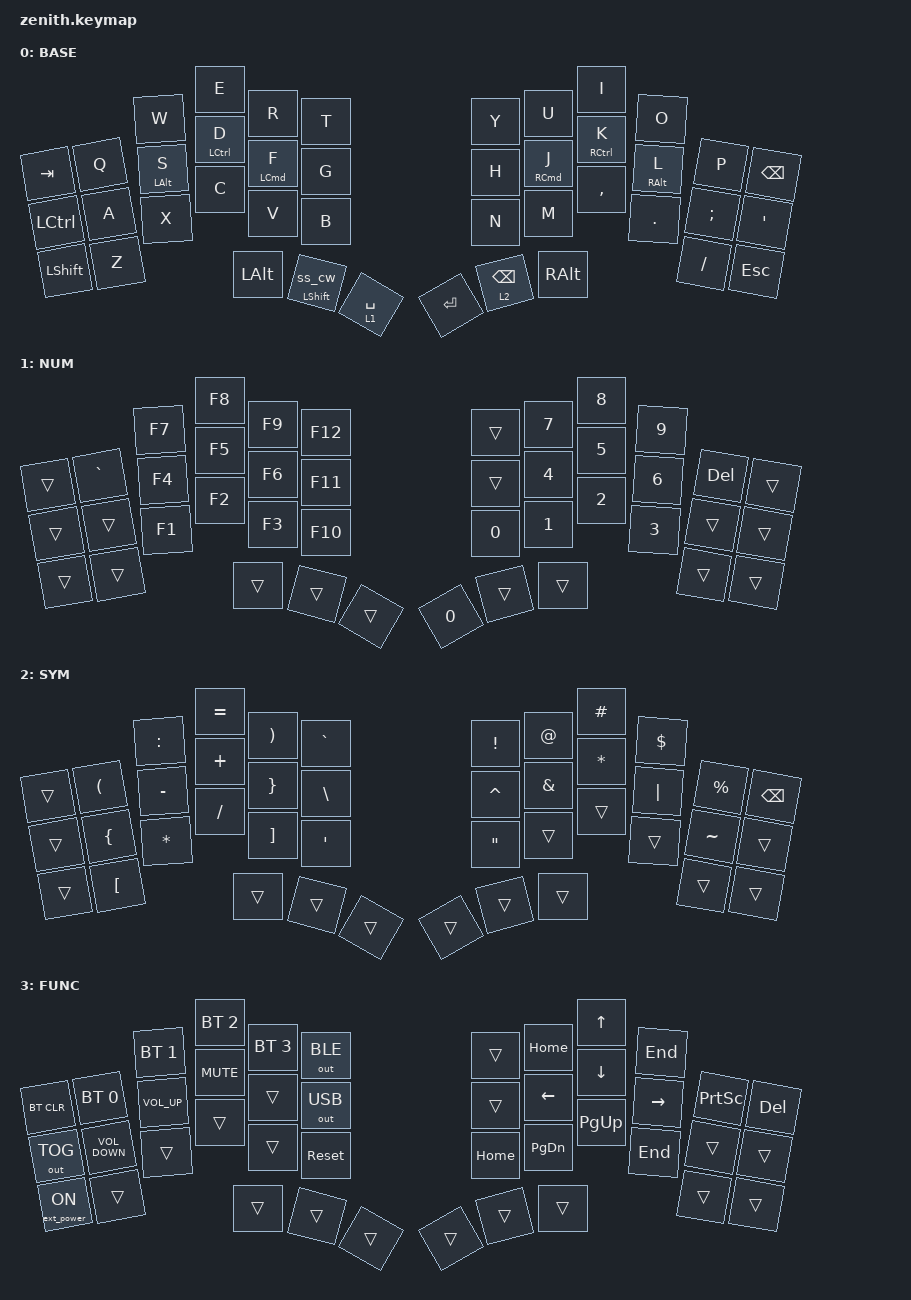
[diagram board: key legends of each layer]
//
//                                                        ▀▀▀▀▀     ▀▀▀▀▀          ▀▀█▀▀
//                                                        ▄▀▀▀▄  ▄  ▄▀▀▀▄  ▄  ▄▀▀▀▄  █  ▄▀▀▀▄
//                                                        █   █  █  █   █  █  █   █  █  █   █
//                                                         ▀▀▀   █   ▀▀▀   █   ▀▀▀   ▀   ▀▀▀
//                                                               █      ▄▄▄█▄▄▄    █   █  
//                                                               ▀      █  █  █     █▄█
//                                                             ▀▀▀▀▀    █  █  █      ▀
//                                                                      ▀  ▀  ▀
//
// ▄▄▄▄▄▄▄▄▄▄▄▄▄▄▄▄▄▄▄▄▄▄▄▄▄▄▄▄▄▄▄▄▄▄▄▄▄▄▄▄▄▄▄▄▄▄▄▄▄▄▄▄▄▄▄▄▄▄▄▄▄▄▄▄▄▄▄▄▄▄▄▄▄▄▄▄▄▄▄▄▄▄▄▄▄▄▄▄▄▄▄▄▄▄▄▄▄▄▄▄▄▄▄▄▄▄▄▄▄▄▄▄▄▄▄▄▄▄▄▄▄▄▄▄▄▄▄▄▄▄▄▄▄▄▄▄▄▄▄▄▄▄▄▄▄▄▄▄▄

#include <behaviors.dtsi>
#include <dt-bindings/zmk/bt.h>
#include <dt-bindings/zmk/ext_power.h>
#include <dt-bindings/zmk/keys.h>
#include <dt-bindings/zmk/outputs.h>

#define BASE 0
#define NAV  1
#define SYM  2
#define ADJ  3

// ─── Key position map ────────────────────────────────────────────────────────
// Row 0:  0   1   2   3   4   5    6   7   8   9  10  11
// Row 1: 12  13  14  15  16  17   18  19  20  21  22  23
// Row 2: 24  25  26  27  28  29   30  31  32  33  34  35
// Row 3:             36  37  38   39  40  41
//
// Left-hand keys  (used as hold-trigger for RIGHT homerow mods):

#define LKEYS  0  1  2  3  4  5  12 13 14 15 16 17 24 25 26 27 28 29 36 37 38

// Right-hand keys (used as hold-trigger for LEFT homerow mods):

#define RKEYS  6  7  8  9 10 11 18 19 20 21 22 23 30 31 32 33 34 35 39 40 41

/ {
    behaviors {
        // ── Left-hand homerow mod ──────────────────────────────────────────

        hml: homerow_mod_left {
            compatible = "zmk,behavior-hold-tap";
            #binding-cells = <2>;
            flavor = "balanced";
            tapping-term-ms = <200>;
            quick-tap-ms = <175>;
            require-prior-idle-ms = <150>;
            bindings = <&kp>, <&kp>;

            hold-trigger-key-positions = <RKEYS>;
            hold-trigger-on-release;
        };

        // ── Right-hand homerow mod ─────────────────────────────────────────

        hmr: homerow_mod_right {
            compatible = "zmk,behavior-hold-tap";
            #binding-cells = <2>;
            flavor = "balanced";
            tapping-term-ms = <200>;
            quick-tap-ms = <175>;
            require-prior-idle-ms = <150>;
            bindings = <&kp>, <&kp>;

            hold-trigger-key-positions = <LKEYS>;
            hold-trigger-on-release;
        };

        ss_cw: shift_caps_word {
            compatible = "zmk,behavior-mod-morph";
            #binding-cells = <0>;
            bindings = <&sk LSHFT>, <&caps_word>;

            mods = <(MOD_LSFT|MOD_RSFT)>;
        };

        sft_cw: shift_capsword_ht {
            compatible = "zmk,behavior-hold-tap";
            #binding-cells = <2>;
            flavor = "balanced";
            tapping-term-ms = <200>;
            bindings = <&kp>, <&ss_cw>;
        };
    };

    conditional_layers {
        compatible = "zmk,conditional-layers";

        func {
            if-layers = <1 2>;
            then-layer = <3>;
        };
    };

    combos {
        compatible = "zmk,combos";

        combo_esc {
            timeout-ms = <50>;
            key-positions = <19 20>;
            bindings = <&kp ESC>;
        };

        combo_tab {
            bindings = <&kp TAB>;
            key-positions = <15 16>;
        };

        copy {
            bindings = <&kp LC(C)>;
            key-positions = <26 27>;
        };

        paste {
            bindings = <&kp LC(V)>;
            key-positions = <27 28>;
        };

        resetbootloader {
            bindings = <&bootloader>;
            key-positions = <3 4 5 6 7 8>;
        };

        backspace {
            bindings = <&kp BACKSPACE>;
            key-positions = <9 10>;
        };

        enter {
            bindings = <&kp ENTER>;
            key-positions = <21 22>;
        };
    };

    keymap {
        compatible = "zmk,keymap";

        // ▄▄▄▄▄▄▄▄▄▄▄▄▄▄▄▄▄▄▄▄▄▄▄▄▄▄▄▄▄▄▄▄▄▄▄▄▄▄▄▄▄▄▄▄▄▄▄▄▄▄▄▄▄▄▄▄▄▄▄▄▄▄▄▄▄▄▄▄▄▄▄▄▄▄▄▄▄▄▄▄▄▄▄▄▄▄▄▄▄▄▄▄▄▄▄▄▄▄▄▄▄▄▄▄▄▄▄▄▄▄▄▄▄▄▄▄▄▄▄▄▄▄▄▄▄▄▄▄▄▄▄▄▄▄▄▄▄▄▄▄▄▄▄▄▄▄▄▄▄

        base {
            // ┏━━━━━━━━━━━━━━━━━━━━━━━━━━━━━━━━━━━━━━━┓

            label = "BASE";

            // ┗━━━━━━━━━━━━━━━━━━━━━━━━━━━━━━━━━━━━━━━┛
            //
            // Homerow mods (GASC / CSAG mirrored):
            //   Left:  A=GUI  S=ALT  D=CTRL  F=SHIFT
            //   Right: J=SHIFT  K=CTRL  L=ALT  ;=GUI

            bindings = <
&kp TAB     &kp Q  &kp W        &kp E         &kp R                 &kp T        &kp Y      &kp U                 &kp I          &kp O        &kp P     &kp BSPC
&kp LCTRL   &kp A  &hml LALT S  &hml LCTRL D  &hml LEFT_COMMAND F   &kp G        &kp H      &hmr RIGHT_COMMAND J  &hmr RCTRL K   &hmr RALT L  &kp SEMI  &kp SQT
&kp LSHIFT  &kp Z  &kp X        &kp C         &kp V                 &kp B        &kp N      &kp M                 &kp COMMA      &kp DOT      &kp FSLH  &kp ESC
                                &kp LALT      &sft_cw LEFT_SHIFT 0  &lt 1 SPACE  &kp ENTER  &lt 2 BACKSPACE       &kp RIGHT_ALT
            >;
        };

        // ▄▄▄▄▄▄▄▄▄▄▄▄▄▄▄▄▄▄▄▄▄▄▄▄▄▄▄▄▄▄▄▄▄▄▄▄▄▄▄▄▄▄▄▄▄▄▄▄▄▄▄▄▄▄▄▄▄▄▄▄▄▄▄▄▄▄▄▄▄▄▄▄▄▄▄▄▄▄▄▄▄▄▄▄▄▄▄▄▄▄▄▄▄▄▄▄▄▄▄▄▄▄▄▄▄▄▄▄▄▄▄▄▄▄▄▄▄▄▄▄▄▄▄▄▄▄▄▄▄▄▄▄▄▄▄▄▄▄▄▄▄▄▄▄▄▄▄▄▄
        // ▄▄▄▄▄▄▄▄▄▄▄▄▄▄▄▄▄▄▄▄▄▄▄▄▄▄▄▄▄▄▄▄▄▄▄▄▄▄▄▄▄▄▄▄▄▄▄▄▄▄▄▄▄▄▄▄▄▄▄▄▄▄▄▄▄▄▄▄▄▄▄▄▄▄▄▄▄▄▄▄▄▄▄▄▄▄▄▄▄▄▄▄▄▄▄▄▄▄▄▄▄▄▄▄▄▄▄▄▄▄▄▄▄▄▄▄▄▄▄▄▄▄▄▄▄▄▄▄▄▄▄▄▄▄▄▄▄▄▄▄▄▄▄▄▄▄▄▄▄
        // ▄▄▄▄▄▄▄▄▄▄▄▄▄▄▄▄▄▄▄▄▄▄▄▄▄▄▄▄▄▄▄▄▄▄▄▄▄▄▄▄▄▄▄▄▄▄▄▄▄▄▄▄▄▄▄▄▄▄▄▄▄▄▄▄▄▄▄▄▄▄▄▄▄▄▄▄▄▄▄▄▄▄▄▄▄▄▄▄▄▄▄▄▄▄▄▄▄▄▄▄▄▄▄▄▄▄▄▄▄▄▄▄▄▄▄▄▄▄▄▄▄▄▄▄▄▄▄▄▄▄▄▄▄▄▄▄▄▄▄▄▄▄▄▄▄▄▄▄▄

        num {
            label = "NUM";
            bindings = <
&trans  &kp GRAVE  &kp F7  &kp F8  &kp F9  &kp F12  &trans  &kp N7        &kp N8        &kp N9        &kp DELETE  &trans
&trans  &trans     &kp F4  &kp F5  &kp F6  &kp F11  &trans  &kp NUMBER_4  &kp N5        &kp NUMBER_6  &trans      &trans
&trans  &trans     &kp F1  &kp F2  &kp F3  &kp F10  &kp N0  &kp NUMBER_1  &kp NUMBER_2  &kp NUMBER_3  &trans      &trans
                           &trans  &trans  &trans   &kp N0  &trans        &trans
            >;
        };

        sym {
            label = "SYM";
            bindings = <
&trans  &kp LEFT_PARENTHESIS  &kp COLON     &kp EQUAL  &kp RIGHT_PARENTHESIS  &kp GRAVE      &kp EXCLAMATION    &kp AT_SIGN    &kp HASH      &kp DOLLAR  &kp PERCENT  &kp BACKSPACE
&trans  &kp LEFT_BRACE        &kp MINUS     &kp PLUS   &kp RIGHT_BRACE        &kp BACKSLASH  &kp CARET          &kp AMPERSAND  &kp ASTERISK  &kp PIPE    &kp TILDE    &trans
&trans  &kp LEFT_BRACKET      &kp ASTERISK  &kp SLASH  &kp RIGHT_BRACKET      &kp SQT        &kp DOUBLE_QUOTES  &trans         &trans        &trans      &trans       &trans
                                            &trans     &trans                 &trans         &trans             &trans         &trans
            >;
        };

        func {
            label = "FUNC";
            bindings = <
&bt BT_CLR        &bt BT_SEL 0       &bt BT_SEL 1     &bt BT_SEL 2  &bt BT_SEL 3  &out OUT_BLE  &trans    &kp HOME        &kp UP_ARROW  &kp END          &kp PRINTSCREEN  &kp DEL
&out OUT_TOG      &kp C_VOLUME_DOWN  &kp C_VOLUME_UP  &kp C_MUTE    &trans        &out OUT_USB  &trans    &kp LEFT_ARROW  &kp DOWN      &kp RIGHT_ARROW  &trans           &trans
&ext_power EP_ON  &trans             &trans           &trans        &trans        &sys_reset    &kp HOME  &kp PAGE_DOWN   &kp PAGE_UP   &kp END          &trans           &trans
                                                      &trans        &trans        &trans        &trans    &trans          &trans
            >;
        };
    };
};
